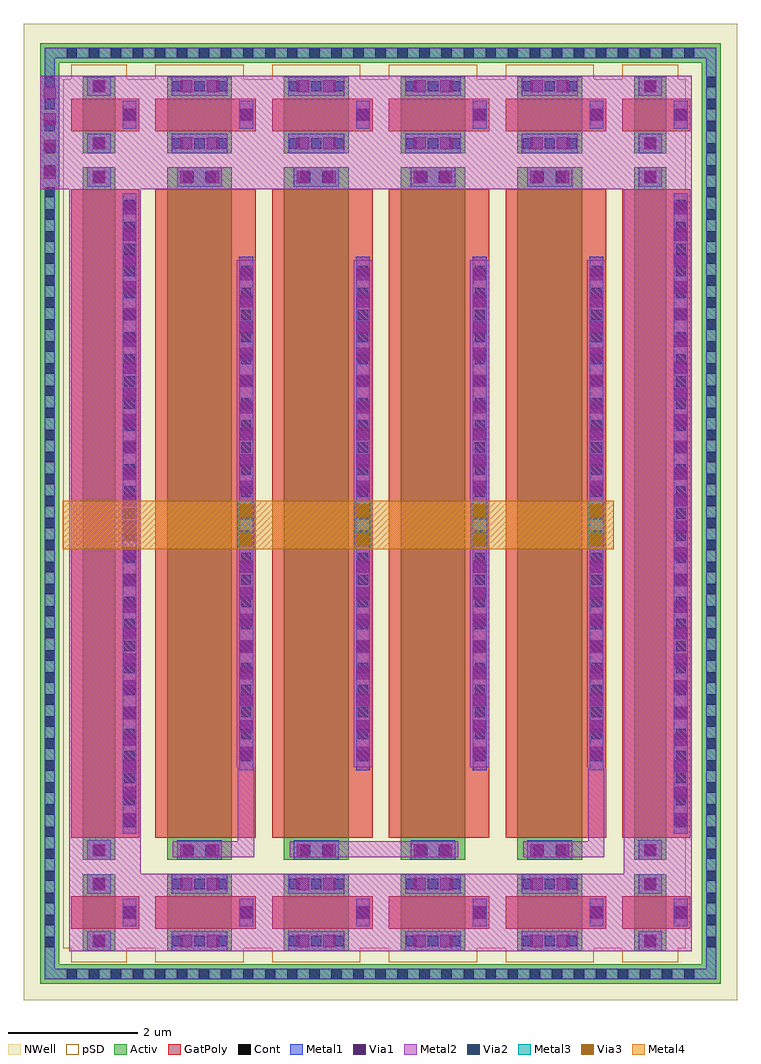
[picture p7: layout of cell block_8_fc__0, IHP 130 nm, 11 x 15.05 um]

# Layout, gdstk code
from math import pi, radians
import gdstk
lib = gdstk.Library(unit=1e-6, precision=1e-09)
def R(c, l, rs):  # rectangles x0, y0, x1, y1
    for r in rs: c.add(gdstk.rectangle(r[:2], r[2:], *l))
def A(c, l, x, y, w, h, nx, ny, dx, dy):  # array of equal rectangles
    R(c, l, [(x+i*dx, y+j*dy, x+i*dx+w, y+j*dy+h) for i in range(nx) for j in range(ny)])
Activ = (1, 0)
GatPoly = (5, 0)
Cont = (6, 0)
Metal1 = (8, 0)
Metal2 = (10, 0)
pSD = (14, 0)
Via1 = (19, 0)
Via2 = (29, 0)
Metal3 = (30, 0)
NWell = (31, 0)
Via3 = (49, 0)
Metal4 = (50, 0)

sg13_lv_pmos_6agbta__0 = lib.new_cell('sg13_lv_pmos_6AGBTA__0')
R(sg13_lv_pmos_6agbta__0, Activ, [(-0.59,-0.345,0.59,0.155)])
R(sg13_lv_pmos_6agbta__0, GatPoly, [(-0.25,-0.525,0.25,0.525)])
R(sg13_lv_pmos_6agbta__0, Cont, [(-0.52,-0.175,-0.36,-0.015), (0.36,-0.175,0.52,-0.015), (-0.08,0.295,0.08,0.455)])
R(sg13_lv_pmos_6agbta__0, Metal1, [(-0.59,-0.275,-0.29,0.085), (0.29,-0.275,0.59,0.085), (-0.215,0.27,0.215,0.48)])
R(sg13_lv_pmos_6agbta__0, Metal2, [(-0.54,-0.315,-0.34,0.125), (0.34,-0.315,0.54,0.125), (-0.14,0.23,0.14,0.52)])
R(sg13_lv_pmos_6agbta__0, pSD, [(-0.55,-0.645,0.55,-0.525), (-0.77,-0.525,0.77,0.335), (-0.55,0.335,0.55,0.455)])
R(sg13_lv_pmos_6agbta__0, Via1, [(-0.535,-0.19,-0.345,0), (0.345,-0.19,0.535,0), (-0.095,0.28,0.095,0.47)])
R(sg13_lv_pmos_6agbta__0, NWell, [(-0.9,-0.655,0.9,0.465)])
sg13_lv_pmos_6agbta__0.add(gdstk.Label('D', (-0.44,-0.095), layer=8, texttype=25))
sg13_lv_pmos_6agbta__0.add(gdstk.Label('S', (0.44,-0.095), layer=8, texttype=25))
sg13_lv_pmos_6agbta__0.add(gdstk.Label('G', (0,0.375), layer=8, texttype=25))

sg13_lv_pmos_nnwyk8__0 = lib.new_cell('sg13_lv_pmos_NNWYK8__0')
R(sg13_lv_pmos_nnwyk8__0, Activ, [(-5.34,-0.595,5.34,0.405)])
R(sg13_lv_pmos_nnwyk8__0, GatPoly, [(-5,-0.775,5,0.775)])
A(sg13_lv_pmos_nnwyk8__0, Cont, -3.82, 0.545, 0.16, 0.16, 23, 1, 0.34, 0)
R(sg13_lv_pmos_nnwyk8__0, Cont, [(-5.27,-0.345,-5.11,-0.185), (5.11,-0.345,5.27,-0.185), (-5.27,-0.005,-5.11,0.155), (5.11,-0.005,5.27,0.155)])
R(sg13_lv_pmos_nnwyk8__0, Metal1, [(-5.34,-0.44,-5.04,0.25), (5.04,-0.44,5.34,0.25), (-3.96,0.52,3.96,0.73)])
R(sg13_lv_pmos_nnwyk8__0, Metal2, [(-5.29,-0.48,-5.09,0.29), (5.09,-0.48,5.29,0.29), (-3.91,0.48,3.91,0.77)])
R(sg13_lv_pmos_nnwyk8__0, pSD, [(-5.3,-0.895,5.3,-0.775), (-5.52,-0.775,5.52,0.585), (-5.3,0.585,5.3,0.705)])
A(sg13_lv_pmos_nnwyk8__0, Via1, -3.785, 0.53, 0.19, 0.19, 19, 1, 0.41, 0)
R(sg13_lv_pmos_nnwyk8__0, Via1, [(-5.285,-0.395,-5.095,-0.205), (5.095,-0.395,5.285,-0.205), (-5.285,0.015,-5.095,0.205), (5.095,0.015,5.285,0.205)])
R(sg13_lv_pmos_nnwyk8__0, NWell, [(-5.65,-0.905,5.65,0.715)])
sg13_lv_pmos_nnwyk8__0.add(gdstk.Label('D', (-5.19,-0.095), layer=8, texttype=25))
sg13_lv_pmos_nnwyk8__0.add(gdstk.Label('S', (5.19,-0.095), layer=8, texttype=25))
sg13_lv_pmos_nnwyk8__0.add(gdstk.Label('G', (0,0.625), layer=8, texttype=25))

sg13_lv_pmos_nvw9ta__0 = lib.new_cell('sg13_lv_pmos_NVW9TA__0')
R(sg13_lv_pmos_nvw9ta__0, Activ, [(-0.59,-0.595,0.59,0.405)])
R(sg13_lv_pmos_nvw9ta__0, GatPoly, [(-0.25,-0.775,0.25,0.775)])
A(sg13_lv_pmos_nvw9ta__0, Cont, -0.52, -0.515, 0.16, 0.16, 1, 3, 0, 0.34)
A(sg13_lv_pmos_nvw9ta__0, Cont, 0.36, -0.515, 0.16, 0.16, 1, 3, 0, 0.34)
R(sg13_lv_pmos_nvw9ta__0, Cont, [(-0.08,0.545,0.08,0.705)])
R(sg13_lv_pmos_nvw9ta__0, Metal1, [(-0.59,-0.525,-0.29,0.335), (0.29,-0.525,0.59,0.335), (-0.215,0.52,0.215,0.73)])
R(sg13_lv_pmos_nvw9ta__0, Metal2, [(-0.54,-0.565,-0.34,0.375), (0.34,-0.565,0.54,0.375), (-0.14,0.48,0.14,0.77)])
R(sg13_lv_pmos_nvw9ta__0, pSD, [(-0.55,-0.895,0.55,-0.775), (-0.77,-0.775,0.77,0.585), (-0.55,0.585,0.55,0.705)])
R(sg13_lv_pmos_nvw9ta__0, Via1, [(-0.535,-0.395,-0.345,-0.205), (0.345,-0.395,0.535,-0.205), (-0.535,0.015,-0.345,0.205), (0.345,0.015,0.535,0.205), (-0.095,0.53,0.095,0.72)])
R(sg13_lv_pmos_nvw9ta__0, NWell, [(-0.9,-0.905,0.9,0.715)])
sg13_lv_pmos_nvw9ta__0.add(gdstk.Label('D', (-0.44,-0.095), layer=8, texttype=25))
sg13_lv_pmos_nvw9ta__0.add(gdstk.Label('S', (0.44,-0.095), layer=8, texttype=25))
sg13_lv_pmos_nvw9ta__0.add(gdstk.Label('G', (0,0.625), layer=8, texttype=25))

sg13_lv_pmos_y6y9ly__0 = lib.new_cell('sg13_lv_pmos_Y6Y9LY__0')
R(sg13_lv_pmos_y6y9ly__0, Activ, [(-5.34,-0.345,5.34,0.155)])
R(sg13_lv_pmos_y6y9ly__0, GatPoly, [(-5,-0.525,5,0.525)])
A(sg13_lv_pmos_y6y9ly__0, Cont, -4.84, 0.295, 0.16, 0.16, 29, 1, 0.34, 0)
R(sg13_lv_pmos_y6y9ly__0, Cont, [(-5.27,-0.175,-5.11,-0.015), (5.11,-0.175,5.27,-0.015)])
R(sg13_lv_pmos_y6y9ly__0, Metal1, [(-5.34,-0.275,-5.04,0.085), (5.04,-0.275,5.34,0.085), (-4.94,0.27,4.94,0.48)])
R(sg13_lv_pmos_y6y9ly__0, Metal2, [(-5.29,-0.315,-5.09,0.125), (5.09,-0.315,5.29,0.125), (-4.89,0.23,4.89,0.52)])
R(sg13_lv_pmos_y6y9ly__0, pSD, [(-5.3,-0.645,5.3,-0.525), (-5.52,-0.525,5.52,0.335), (-5.3,0.335,5.3,0.455)])
A(sg13_lv_pmos_y6y9ly__0, Via1, -4.81, 0.28, 0.19, 0.19, 24, 1, 0.41, 0)
R(sg13_lv_pmos_y6y9ly__0, Via1, [(-5.285,-0.19,-5.095,0), (5.095,-0.19,5.285,0)])
R(sg13_lv_pmos_y6y9ly__0, NWell, [(-5.65,-0.655,5.65,0.465)])
sg13_lv_pmos_y6y9ly__0.add(gdstk.Label('D', (-5.19,-0.095), layer=8, texttype=25))
sg13_lv_pmos_y6y9ly__0.add(gdstk.Label('S', (5.19,-0.095), layer=8, texttype=25))
sg13_lv_pmos_y6y9ly__0.add(gdstk.Label('G', (0,0.375), layer=8, texttype=25))

block_8_fc__0 = lib.new_cell('block_8_fc__0')
R(block_8_fc__0, Activ, [(-1.65,-1.6,8.85,-1.3), (-1.65,-1.3,-1.35,12.6), (8.55,-1.3,8.85,12.6), (-1.65,12.6,8.85,12.9)])
A(block_8_fc__0, GatPoly, 1.4, 5.6, 0.25, 0.2, 4, 1, 1.8, 0)
A(block_8_fc__0, Cont, -1.24, -1.53, 0.16, 0.16, 29, 2, 0.34, 14.2)
A(block_8_fc__0, Cont, -1.58, -1.035, 0.16, 0.16, 1, 40, 0, 0.34)
A(block_8_fc__0, Cont, 8.62, -1.035, 0.16, 0.16, 1, 40, 0, 0.34)
R(block_8_fc__0, Metal1, [(-1.58,-1.53,8.78,-1.37), (-1.58,-1.37,-1.42,10.65), (8.62,-1.37,8.78,12.67), (-1.65,10.65,-1.35,12.4), (-1.58,12.4,-1.42,12.67), (-1.58,12.67,8.78,12.83)])
A(block_8_fc__0, Metal2, 1.4, 5.15, 0.25, 0.2, 4, 2, 1.8, 0.45)
R(block_8_fc__0, Metal2, [(-1.2,-1.1,8.4,0.1), (-1.2,0.1,-0.1,10.65), (7.35,0.1,8.4,10.65), (0.4,0.35,1.65,0.6), (2.2,0.35,4.8,0.6), (5.8,0.35,7.05,0.6), (1.4,0.6,1.65,1.95), (6.8,0.6,7.05,1.95), (-1.65,10.65,8.4,12.4)])
A(block_8_fc__0, pSD, -0.19, -1.05, 0.2, 1.1, 5, 2, 1.8, 12.3)
A(block_8_fc__0, pSD, -0.31, 0.05, 0.44, 0.3, 5, 2, 1.8, 10.9)
A(block_8_fc__0, pSD, -0.19, 0.35, 0.2, 10.6, 5, 1, 1.8, 0)
R(block_8_fc__0, pSD, [(-1.29,0.05,-1.17,0.35), (8.19,0.05,8.31,0.35), (-1.29,10.95,-1.17,11.25), (8.19,10.95,8.31,11.25)])
A(block_8_fc__0, Via1, -1.595, 10.815, 0.19, 0.19, 1, 4, 0, 0.41)
A(block_8_fc__0, Via2, 1.43, 5.155, 0.19, 0.19, 4, 2, 1.8, 0.45)
A(block_8_fc__0, Metal3, 1.4, 5.1, 0.25, 0.75, 4, 1, 1.8, 0)
R(block_8_fc__0, NWell, [(-1.9,-1.85,9.1,13.2)])
A(block_8_fc__0, Via3, 1.43, 5.155, 0.19, 0.19, 4, 2, 1.8, 0.45)
R(block_8_fc__0, Metal4, [(-1.3,5.1,7.2,5.85)])
block_8_fc__0.add(gdstk.Reference(sg13_lv_pmos_6agbta__0, (-0.645,11.8), rotation=3*pi/2))
block_8_fc__0.add(gdstk.Reference(sg13_lv_pmos_6agbta__0, (-0.645,-0.5), rotation=3*pi/2))
block_8_fc__0.add(gdstk.Reference(sg13_lv_pmos_nnwyk8__0, (0.905,5.65), rotation=3*pi/2))
block_8_fc__0.add(gdstk.Reference(sg13_lv_pmos_nvw9ta__0, (0.905,11.8), rotation=3*pi/2))
block_8_fc__0.add(gdstk.Reference(sg13_lv_pmos_nvw9ta__0, (0.905,-0.5), rotation=3*pi/2))
block_8_fc__0.add(gdstk.Reference(sg13_lv_pmos_y6y9ly__0, (-0.645,5.65), rotation=3*pi/2))
block_8_fc__0.add(gdstk.Reference(sg13_lv_pmos_nnwyk8__0, (2.705,5.65), rotation=3*pi/2))
block_8_fc__0.add(gdstk.Reference(sg13_lv_pmos_nvw9ta__0, (2.705,11.8), rotation=3*pi/2))
block_8_fc__0.add(gdstk.Reference(sg13_lv_pmos_nvw9ta__0, (2.705,-0.5), rotation=3*pi/2))
block_8_fc__0.add(gdstk.Reference(sg13_lv_pmos_nnwyk8__0, (4.505,5.65), rotation=3*pi/2))
block_8_fc__0.add(gdstk.Reference(sg13_lv_pmos_nvw9ta__0, (4.505,11.8), rotation=3*pi/2))
block_8_fc__0.add(gdstk.Reference(sg13_lv_pmos_nvw9ta__0, (4.505,-0.5), rotation=3*pi/2))
block_8_fc__0.add(gdstk.Reference(sg13_lv_pmos_nnwyk8__0, (6.305,5.65), rotation=3*pi/2))
block_8_fc__0.add(gdstk.Reference(sg13_lv_pmos_nvw9ta__0, (6.305,11.8), rotation=3*pi/2))
block_8_fc__0.add(gdstk.Reference(sg13_lv_pmos_nvw9ta__0, (6.305,-0.5), rotation=3*pi/2))
block_8_fc__0.add(gdstk.Reference(sg13_lv_pmos_6agbta__0, (7.855,11.8), rotation=3*pi/2))
block_8_fc__0.add(gdstk.Reference(sg13_lv_pmos_6agbta__0, (7.855,-0.5), rotation=3*pi/2))
block_8_fc__0.add(gdstk.Reference(sg13_lv_pmos_y6y9ly__0, (7.855,5.65), rotation=3*pi/2))

lib.write_gds('block_8_fc__0.gds')
